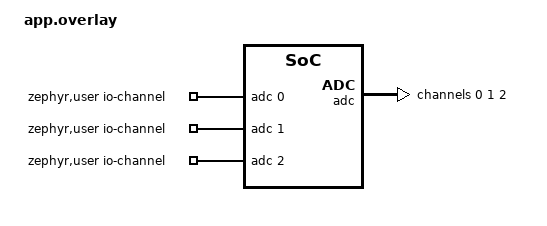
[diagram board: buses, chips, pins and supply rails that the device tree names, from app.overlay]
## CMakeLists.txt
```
cmake_minimum_required(VERSION 3.20.0)
find_package(Zephyr REQUIRED HINTS $ENV{ZEPHYR_BASE})

project(Tietoliikenteen-sovellusprojekti)

target_sources(app PRIVATE src/main.c)
```

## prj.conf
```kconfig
#
# Copyright (c) 2018 Nordic Semiconductor
#
# SPDX-License-Identifier: LicenseRef-Nordic-5-Clause
#

# Logger module
CONFIG_LOG=y

# Button and LED library
CONFIG_DK_LIBRARY=y

# Bluetooth LE
CONFIG_BT=y
CONFIG_BT_PERIPHERAL=y
CONFIG_BT_DEVICE_NAME="Ryhma_29"
# ADC-mittaus käyttöön
CONFIG_ADC=y
# Increase stack size for the main thread and System Workqueue
CONFIG_SYSTEM_WORKQUEUE_STACK_SIZE=2048
CONFIG_MAIN_STACK_SIZE=2048
```

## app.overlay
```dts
/*
 * Copyright (c) 2026 Nordic Semiconductor ASA
 *
 * SPDX-License-Identifier: LicenseRef-Nordic-5-Clause
 */


 / {
    zephyr,user {
        io-channels = <&adc 0>, <&adc 1>, <&adc 2>;
    };
};

/*
 * TrustZone SRAM split from devicetree (region_defs.h for TF-M). The secure image uses
 * 48 KiB (0xc000) at the base of cpuapp SRAM (&sram0_s); NS RAM begins at 0x20000000 + 0xc000.
 * &sram0_ns spans 0x74000 bytes; &sram0_ns_app is 0x64000 because the top 0x10000 (64 KiB)
 * within that NS window is sram0_shared for application/network-core IPC
 * (nrf5340_shared_sram_partition.dtsi), i.e. 0x64000 + 0x10000 == 0x74000.
 */
&adc {
    status = "okay";
    #address-cells = <1>;
    #size-cells = <0>;

    channel@0 {
        reg = <0>;
        zephyr,gain = "ADC_GAIN_1_6";
        zephyr,reference = "ADC_REF_INTERNAL";
        zephyr,acquisition-time = <ADC_ACQ_TIME_DEFAULT>;
        zephyr,input-positive = <NRF_SAADC_AIN0>;
        zephyr,resolution = <12>;
    };

    channel@1 {
        reg = <1>;
        zephyr,gain = "ADC_GAIN_1_6";
        zephyr,reference = "ADC_REF_INTERNAL";
        zephyr,acquisition-time = <ADC_ACQ_TIME_DEFAULT>;
        zephyr,input-positive = <NRF_SAADC_AIN1>;
        zephyr,resolution = <12>;
    };

    channel@2 {
        reg = <2>;
        zephyr,gain = "ADC_GAIN_1_6";
        zephyr,reference = "ADC_REF_INTERNAL";
        zephyr,acquisition-time = <ADC_ACQ_TIME_DEFAULT>;
        zephyr,input-positive = <NRF_SAADC_AIN2>;
        zephyr,resolution = <12>;
    };
};
```

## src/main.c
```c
/*
 * Copyright (c) 2023 Nordic Semiconductor ASA
 *
 * SPDX-License-Identifier: LicenseRef-Nordic-5-Clause
 */

#include <zephyr/kernel.h>
#include <zephyr/logging/log.h>
#include <zephyr/bluetooth/bluetooth.h>
#include <zephyr/bluetooth/gap.h>
#include <zephyr/bluetooth/uuid.h>
#include <zephyr/bluetooth/conn.h>
#include <dk_buttons_and_leds.h>
#include "my_lbs.h"
#include "adc.h"
static const struct bt_le_adv_param *adv_param = BT_LE_ADV_PARAM(
	(BT_LE_ADV_OPT_CONN |
	 BT_LE_ADV_OPT_USE_IDENTITY), /* Connectable advertising and use identity address */
	800, /* Min Advertising Interval 500ms (800*0.625ms) */
	801, /* Max Advertising Interval 500.625ms (801*0.625ms) */
	NULL); /* Set to NULL for undirected advertising */

LOG_MODULE_REGISTER(Lesson4_Exercise2, LOG_LEVEL_INF);

#define DEVICE_NAME CONFIG_BT_DEVICE_NAME
#define DEVICE_NAME_LEN (sizeof(DEVICE_NAME) - 1)

#define RUN_STATUS_LED DK_LED1
#define CON_STATUS_LED DK_LED2
#define USER_LED DK_LED3
#define USER_BUTTON DK_BTN1_MSK

#define STACKSIZE 1024
#define PRIORITY 7

#define RUN_LED_BLINK_INTERVAL 1000
/* STEP 17 - Define the interval at which you want to send data at */
#define NOTIFY_INTERVAL         500
static bool app_button_state;
static struct k_work adv_work;
/* STEP 15 - Define the data you want to stream over Bluetooth LE */
static bool app_button_state;
static uint32_t suunta = 0;
#include <zephyr/sys/atomic.h>
static atomic_t mittaus_pyynto = ATOMIC_INIT(0);
static const struct bt_data ad[] = {
	BT_DATA_BYTES(BT_DATA_FLAGS, (BT_LE_AD_GENERAL | BT_LE_AD_NO_BREDR)),
	BT_DATA(BT_DATA_NAME_COMPLETE, DEVICE_NAME, DEVICE_NAME_LEN),

};

static const struct bt_data sd[] = {
	BT_DATA_BYTES(BT_DATA_UUID128_ALL, BT_UUID_LBS_VAL),
};

static void adv_work_handler(struct k_work *work)
{
	int err = bt_le_adv_start(adv_param, ad, ARRAY_SIZE(ad), sd, ARRAY_SIZE(sd));

	if (err) {
		printk("Advertising failed to start (err %d)\n", err);
		return;
	}

	printk("Advertising successfully started\n");
}
static void advertising_start(void)
{
	k_work_submit(&adv_work);
}
static void recycled_cb(void)
{
	printk("Connection object available from previous conn. Disconnect is complete!\n");
	advertising_start();
}

static void app_led_cb(bool led_state)
{
	dk_set_led(USER_LED, led_state);
}

static bool app_button_cb(void)
{
	return app_button_state;
}

/* STEP 18.1 - Define the thread function  */
void send_data_thread(void)
{
    while (1)
    {
        if (atomic_set(&mittaus_pyynto, 0) == 1)
        {
            uint32_t valittu_suunta = suunta;

            for (int i = 0; i < 100; i++)
            {
                struct Measurement m = readADCValue();

                printk("Mittaus %d: Suunta=%u X=%u Y=%u Z=%u\n",
                       i + 1, valittu_suunta, m.x, m.y, m.z);

                my_lbs_send_sensor_notify(valittu_suunta, m.x, m.y, m.z);

                k_sleep(K_MSEC(100));
            }

            printk("100 mittausta valmis!\n");
        }

        k_sleep(K_MSEC(20));
    }
}
static struct my_lbs_cb app_callbacks = {
	.led_cb = app_led_cb,
	.button_cb = app_button_cb,
};

static void button_changed(uint32_t button_state, uint32_t has_changed)
{
	if (has_changed & USER_BUTTON) {
		uint32_t user_button_state = button_state & USER_BUTTON;
		/* STEP 6 - Send indication on a button press */
		my_lbs_send_button_state_indicate(user_button_state);
		app_button_state = user_button_state ? true : false;
	}
	if ((has_changed & DK_BTN2_MSK) && (button_state & DK_BTN2_MSK)) {
    	suunta++;

    	if (suunta > 5) {
        suunta = 0;
    	}

    	printk("Suunta = %u\n", suunta);
	}

	if ((has_changed & DK_BTN3_MSK) &&
    	(button_state & DK_BTN3_MSK)) {
    	atomic_set(&mittaus_pyynto, 1);
    	printk("BUTTON3 painettu, aloitetaan 100 mittausta\n");
	}
}
static void on_connected(struct bt_conn *conn, uint8_t err)
{
	if (err) {
		printk("Connection failed (err %u)\n", err);
		return;
	}

	printk("Connected\n");

	dk_set_led_on(CON_STATUS_LED);
}

static void on_disconnected(struct bt_conn *conn, uint8_t reason)
{
	printk("Disconnected (reason %u)\n", reason);

	dk_set_led_off(CON_STATUS_LED);
}

struct bt_conn_cb connection_callbacks = {
	.connected = on_connected,
	.disconnected = on_disconnected,
	.recycled = recycled_cb,
};

static int init_button(void)
{
	int err;

	err = dk_buttons_init(button_changed);
	if (err) {
		printk("Cannot init buttons (err: %d)\n", err);
	}

	return err;
}

int main(void)
{
	int blink_status = 0;
	int err;

	LOG_INF("Starting Lesson 4 - Exercise 2 \n");

	err = dk_leds_init();
	if (err) {
		LOG_ERR("LEDs init failed (err %d)\n", err);
		return -1;
	}

	err = init_button();
	if (err) {
		printk("Button init failed (err %d)\n", err);
		return -1;
	}

	err = initializeADC();
	if (err != 0) {
    	printk("ADC initialization failed!\n");
    	return -1;
	}
	err = bt_enable(NULL);
	if (err) {
		LOG_ERR("Bluetooth init failed (err %d)\n", err);
		return -1;
	}
	bt_conn_cb_register(&connection_callbacks);

	err = my_lbs_init(&app_callbacks);
	if (err) {
		printk("Failed to init LBS (err:%d)\n", err);
		return -1;
	}
	LOG_INF("Bluetooth initialized\n");
	k_work_init(&adv_work, adv_work_handler);
	advertising_start();
	for (;;) {
		dk_set_led(RUN_STATUS_LED, (++blink_status) % 2);
		k_sleep(K_MSEC(RUN_LED_BLINK_INTERVAL));
	}
}

/* STEP 18.2 - Define and initialize a thread to send data periodically */
K_THREAD_DEFINE(send_data_thread_id, STACKSIZE, send_data_thread, NULL, NULL,
		NULL, PRIORITY, 0, 0);
```

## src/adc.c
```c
#include <zephyr/device.h>
#include <zephyr/devicetree.h>
#include <zephyr/drivers/adc.h>
#include <hal/nrf_saadc.h>
#include <zephyr/kernel.h>
#include <zephyr/sys/printk.h>
#include <zephyr/sys/util.h>
#include <zephyr/sys/printk.h>
#include "adc.h"

#if !DT_NODE_EXISTS(DT_PATH(zephyr_user)) || \
	!DT_NODE_HAS_PROP(DT_PATH(zephyr_user), io_channels)
#error "No suitable devicetree overlay specified"
#endif

#define DT_SPEC_AND_COMMA(node_id, prop, idx) \
	ADC_DT_SPEC_GET_BY_IDX(node_id, idx),

static const struct adc_dt_spec adc_channels[] = {
	DT_FOREACH_PROP_ELEM(DT_PATH(zephyr_user), io_channels,
			     DT_SPEC_AND_COMMA)
};





void printDebugInfo(void)
{
   printk("printing first adc_dt_spec structure contents for all channels\n");
   for(int i = 0;i<3;i++)
   {
   printk("adc_dt_spec structure, channel %d = \n",i);
   printk("Device pointer = %p\n",adc_channels[1].dev);
   printk("Channel Id = %d\n",adc_channels[i].channel_id);
   printk("Voltage reference = %d\n",adc_channels[i].vref_mv);
   printk("Resolution = %d\n",adc_channels[i].resolution);
   printk("Oversampling = %d\n",adc_channels[i].oversampling);
   printk("\n\n");
   }

}

int initializeADC(void)
{

    int err;
	
	for (size_t i = 0U; i < ARRAY_SIZE(adc_channels); i++) {
		if (!device_is_ready(adc_channels[i].dev)) {
			printk("ADC controller device not ready\n");
			return -1;
		}

		err = adc_channel_setup_dt(&adc_channels[i]);
		if (err < 0) {
			printk("Could not setup channel #%d (%d)\n", i, err);
			return -1;
		}
	}

    return 0;

}

struct Measurement readADCValue(void)
{
	int16_t buf;
    struct Measurement m;
    struct adc_sequence sequence = {
	  .buffer = &buf,

	  .buffer_size = sizeof(buf),
    };

    printk("ADC reading:\n");
	for (size_t i = 0U; i < ARRAY_SIZE(adc_channels); i++) 
    {
		int err;
        int32_t val_mv;
        // For debug use... 
		/*
        printk("- %s, channel %d: ",
		       adc_channels[i].dev->name,
		       adc_channels[i].channel_id);
        */

		(void)adc_sequence_init_dt(&adc_channels[i], &sequence);

		err = adc_read(adc_channels[i].dev, &sequence);
		if (err < 0) {
			printk("Could not read (%d)\n", err);
			continue;
		} else {
            if(i==0)
            {
                m.x = val_mv;
            }
            else if (i==1)
            {
               m.y = val_mv;
            }
            else if (i==2)
            {
                m.z = val_mv;
            }           
			//printk("%"PRId16, buf);
		}

		
		val_mv = buf;
		err = adc_raw_to_millivolts_dt(&adc_channels[i],&val_mv);
		if (err < 0) 
        {
			printk(" (value in mV not available)\n");
		} 
        else 
        {
			if(i==0)
            {
                m.x = val_mv;
            }
            else if (i==1)
            {
               m.y = val_mv;
            }
            else if (i==2)
            {
                m.z = val_mv;
            }           
            //printk(" = %"PRId32" mV\n", val_mv);
		}
	}
    return m;
}
```

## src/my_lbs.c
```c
/*
 * Copyright (c) 2018 Nordic Semiconductor ASA
 *
 * SPDX-License-Identifier: LicenseRef-Nordic-5-Clause
 */

/** @file
 *  @brief LED Button Service (LBS) sample
 */

#include <zephyr/types.h>
#include <stddef.h>
#include <string.h>
#include <errno.h>
#include <zephyr/sys/printk.h>
#include <zephyr/sys/byteorder.h>
#include <zephyr/kernel.h>
#include <zephyr/logging/log.h>
#include <zephyr/bluetooth/bluetooth.h>
#include <zephyr/bluetooth/hci.h>
#include <zephyr/bluetooth/conn.h>
#include <zephyr/bluetooth/uuid.h>
#include <zephyr/bluetooth/gatt.h>

#include "my_lbs.h"

LOG_MODULE_DECLARE(Lesson4_Exercise2);

static bool notify_mysensor_enabled;
static bool indicate_enabled;
static bool button_state;
static struct my_lbs_cb lbs_cb;

/* STEP 4 - Define an indication parameter */
static struct bt_gatt_indicate_params ind_params;
/* STEP 3 - Implement the configuration change callback function */
static void mylbsbc_ccc_cfg_changed(const struct bt_gatt_attr *attr,
				  uint16_t value)
{
	indicate_enabled = (value == BT_GATT_CCC_INDICATE);
}
/* STEP 13 - Define the configuration change callback function for the MYSENSOR characteristic */
static void mylbsbc_ccc_mysensor_cfg_changed(const struct bt_gatt_attr *attr,
				  uint16_t value)
{
	notify_mysensor_enabled = (value == BT_GATT_CCC_NOTIFY);
}
// This function is called when a remote device has acknowledged the indication at its host layer
static void indicate_cb(struct bt_conn *conn, struct bt_gatt_indicate_params *params, uint8_t err)
{
	LOG_DBG("Indication %s\n", err != 0U ? "fail" : "success");
}

static ssize_t write_led(struct bt_conn *conn, const struct bt_gatt_attr *attr, const void *buf,
			 uint16_t len, uint16_t offset, uint8_t flags)
{
	LOG_DBG("Attribute write, handle: %u, conn: %p", attr->handle, (void *)conn);

	if (len != 1U) {
		LOG_DBG("Write led: Incorrect data length");
		return BT_GATT_ERR(BT_ATT_ERR_INVALID_ATTRIBUTE_LEN);
	}

	if (offset != 0) {
		LOG_DBG("Write led: Incorrect data offset");
		return BT_GATT_ERR(BT_ATT_ERR_INVALID_OFFSET);
	}

	if (lbs_cb.led_cb) {
		// Read the received value
		uint8_t val = *((uint8_t *)buf);

		if (val == 0x00 || val == 0x01) {
			// Call the application callback function to update the LED state
			lbs_cb.led_cb(val ? true : false);
		} else {
			LOG_DBG("Write led: Incorrect value");
			return BT_GATT_ERR(BT_ATT_ERR_VALUE_NOT_ALLOWED);
		}
	}

	return len;
}

static ssize_t read_button(struct bt_conn *conn, const struct bt_gatt_attr *attr, void *buf,
			   uint16_t len, uint16_t offset)
{
	// get a pointer to button_state which is passed in the BT_GATT_CHARACTERISTIC() and stored in attr->user_data
	const char *value = attr->user_data;

	LOG_DBG("Attribute read, handle: %u, conn: %p", attr->handle, (void *)conn);

	if (lbs_cb.button_cb) {
		// Call the application callback function to update the get the current value of the button
		button_state = lbs_cb.button_cb();
		return bt_gatt_attr_read(conn, attr, buf, len, offset, value, sizeof(*value));
	}

	return 0;
}

/* LED Button Service Declaration */
BT_GATT_SERVICE_DEFINE(
	my_lbs_svc, BT_GATT_PRIMARY_SERVICE(BT_UUID_LBS),
	/* STEP 1 - Modify the Button characteristic declaration to support indication */
	BT_GATT_CHARACTERISTIC(BT_UUID_LBS_BUTTON,
			    BT_GATT_CHRC_READ | BT_GATT_CHRC_INDICATE,
			    BT_GATT_PERM_READ, read_button, NULL,
			    &button_state),
	/* STEP 2 - Create and add the Client Characteristic Configuration Descriptor */
	BT_GATT_CCC(mylbsbc_ccc_cfg_changed,
		    BT_GATT_PERM_READ | BT_GATT_PERM_WRITE),
	BT_GATT_CHARACTERISTIC(BT_UUID_LBS_LED, BT_GATT_CHRC_WRITE, BT_GATT_PERM_WRITE, NULL,
			       write_led, NULL),
	/* STEP 12 - Create and add the MYSENSOR characteristic and its CCCD  */
	BT_GATT_CHARACTERISTIC(BT_UUID_LBS_MYSENSOR,
			       BT_GATT_CHRC_NOTIFY,
			       BT_GATT_PERM_NONE, NULL, NULL,
			       NULL),

	BT_GATT_CCC(mylbsbc_ccc_mysensor_cfg_changed,
		    BT_GATT_PERM_READ | BT_GATT_PERM_WRITE),
);
/* A function to register application callbacks for the LED and Button characteristics  */
int my_lbs_init(struct my_lbs_cb *callbacks)
{
	if (callbacks) {
		lbs_cb.led_cb = callbacks->led_cb;
		lbs_cb.button_cb = callbacks->button_cb;
	}

	return 0;
}

/* STEP 5.1 - Define the function to send indications */
int my_lbs_send_button_state_indicate(bool button_state)
{
	if (!indicate_enabled) {
		return -EACCES;
	}

	/* STEP 5.2 - Populate the indication */
		ind_params.attr = &my_lbs_svc.attrs[2];
	ind_params.func = indicate_cb;
	ind_params.destroy = NULL;
	ind_params.data = &button_state;
	ind_params.len = sizeof(button_state);
	return bt_gatt_indicate(NULL, &ind_params);
}
/* STEP 14 - Define the function to send notifications for the MYSENSOR characteristic */

int my_lbs_send_sensor_notify(uint32_t suunta, uint32_t x, uint32_t y, uint32_t z)
{
    if (!notify_mysensor_enabled) {
        return -EACCES;
    }
    uint32_t data[4] = {suunta, x, y, z};
    return bt_gatt_notify(NULL, &my_lbs_svc.attrs[7], data, sizeof(data));
}
```

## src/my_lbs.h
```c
/*
 * Copyright (c) 2018 Nordic Semiconductor ASA
 *
 * SPDX-License-Identifier: LicenseRef-Nordic-5-Clause
 */

#ifndef BT_LBS_H_
#define BT_LBS_H_

/**@file
 * @defgroup bt_lbs LED Button Service API
 * @{
 * @brief API for the LED Button Service (LBS).
 */

#ifdef __cplusplus
extern "C" {
#endif

#include <zephyr/types.h>

/** @brief LBS Service UUID. */
#define BT_UUID_LBS_VAL BT_UUID_128_ENCODE(0x00001523, 0x1212, 0xefde, 0x1523, 0x785feabcd123)

/** @brief Button Characteristic UUID. */
#define BT_UUID_LBS_BUTTON_VAL                                                                     \
	BT_UUID_128_ENCODE(0x00001524, 0x1212, 0xefde, 0x1523, 0x785feabcd123)

/** @brief LED Characteristic UUID. */
#define BT_UUID_LBS_LED_VAL BT_UUID_128_ENCODE(0x00001525, 0x1212, 0xefde, 0x1523, 0x785feabcd123)

/* STEP 11.1 - Assign a UUID to the MYSENSOR characteristic */
/** @brief LED Characteristic UUID. */
#define BT_UUID_LBS_MYSENSOR_VAL \
	BT_UUID_128_ENCODE(0x00001526, 0x1212, 0xefde, 0x1523, 0x785feabcd123)
#define BT_UUID_LBS BT_UUID_DECLARE_128(BT_UUID_LBS_VAL)
#define BT_UUID_LBS_BUTTON BT_UUID_DECLARE_128(BT_UUID_LBS_BUTTON_VAL)
#define BT_UUID_LBS_LED BT_UUID_DECLARE_128(BT_UUID_LBS_LED_VAL)

/* STEP 11.2 - Convert the array to a generic UUID */
#define BT_UUID_LBS_MYSENSOR       BT_UUID_DECLARE_128(BT_UUID_LBS_MYSENSOR_VAL)
/** @brief Callback type for when an LED state change is received. */
typedef void (*led_cb_t)(const bool led_state);

/** @brief Callback type for when the button state is pulled. */
typedef bool (*button_cb_t)(void);

/** @brief Callback struct used by the LBS Service. */
struct my_lbs_cb {
	/** LED state change callback. */
	led_cb_t led_cb;
	/** Button read callback. */
	button_cb_t button_cb;
};

/** @brief Initialize the LBS Service.
 *
 * This function registers application callback functions with the My LBS
 * Service
 *
 * @param[in] callbacks Struct containing pointers to callback functions
 *			used by the service. This pointer can be NULL
 *			if no callback functions are defined.
 *
 *
 * @retval 0 If the operation was successful.
 *           Otherwise, a (negative) error code is returned.
 */
int my_lbs_init(struct my_lbs_cb *callbacks);

/** @brief Send the button state as indication.
 *
 * This function sends a binary state, typically the state of a
 * button, to all connected peers.
 *
 * @param[in] button_state The state of the button.
 *
 * @retval 0 If the operation was successful.
 *           Otherwise, a (negative) error code is returned.
 */
int my_lbs_send_button_state_indicate(bool button_state);

/** @brief Send the button state as notification.
 *
 * This function sends a binary state, typically the state of a
 * button, to all connected peers.
 *
 * @param[in] button_state The state of the button.
 *
 * @retval 0 If the operation was successful.
 *           Otherwise, a (negative) error code is returned.
 */
int my_lbs_send_button_state_notify(bool button_state);

/** @brief Send the sensor value as notification.
 *
 * This function sends an uint32_t  value, typically the value
 * of a simulated sensor to all connected peers.
 *
 * @param[in] sensor_value The value of the simulated sensor.
 *
 * @retval 0 If the operation was successful.
 *           Otherwise, a (negative) error code is returned.
 */
int my_lbs_send_sensor_notify(uint32_t suunta, uint32_t x, uint32_t y, uint32_t z);

#ifdef __cplusplus
}
#endif

/**
 * @}
 */

#endif /* BT_LBS_H_ */
```
